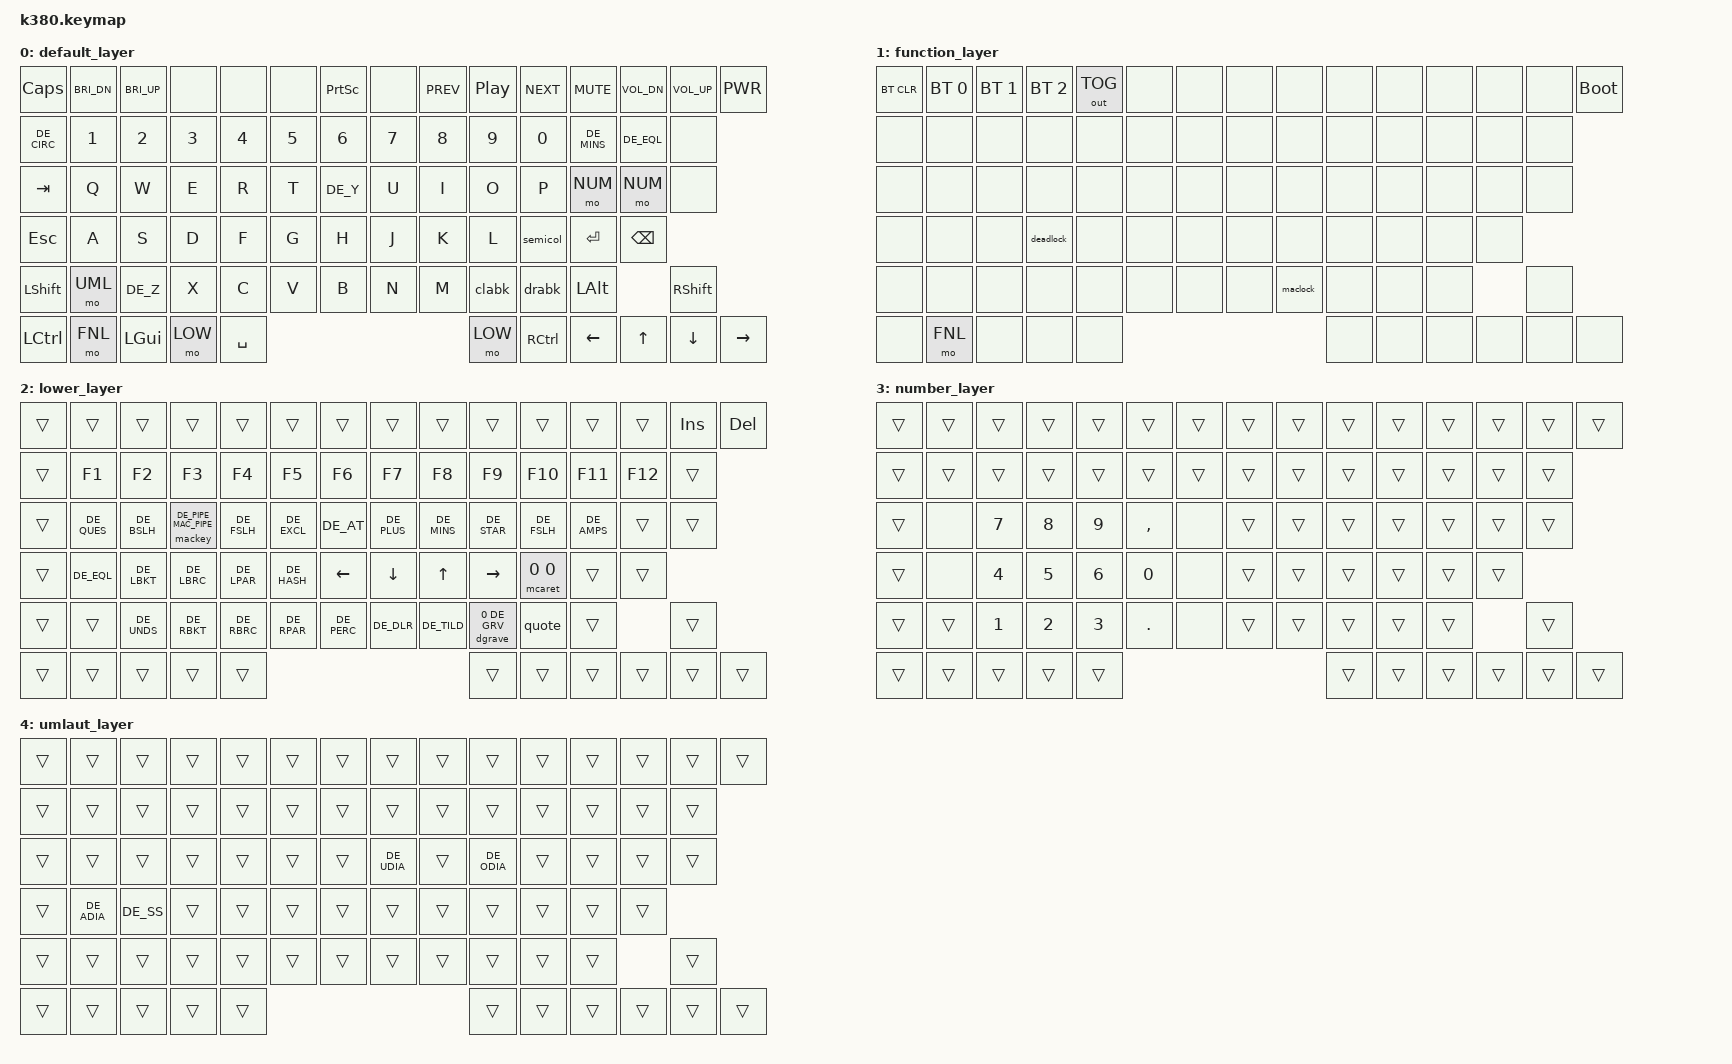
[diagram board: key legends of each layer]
#include "keymap_german.h"

#define DEFAULT 0
#define FNL     1
#define LOW     2
#define NUM     3
#define UML     4

/*
&trans    &trans    &trans    &trans    &trans    &trans    &trans    &trans    &trans    &trans    &trans    &trans    &trans    &trans    &trans
&trans    &trans    &trans    &trans    &trans    &trans    &trans    &trans    &trans    &trans    &trans    &trans    &trans    &trans
&trans    &trans    &trans    &trans    &trans    &trans    &trans    &trans    &trans    &trans    &trans    &trans    &trans    &trans
&trans    &trans    &trans    &trans    &trans    &trans    &trans    &trans    &trans    &trans    &trans    &trans    &trans
&trans    &trans    &trans    &trans    &trans    &trans    &trans    &trans    &trans    &trans    &trans    &trans              &trans
&trans    &trans    &trans    &trans                  &trans                              &trans    &trans    &trans    &trans    &trans    &trans
*/


/ {
  behaviors {
    quote: shift_quotes {
      compatible = "zmk,behavior-mod-morph";
      label = "SHIFT_QUOTES";
      #binding-cells = <0>;
      bindings = <&kp DE_SQT>, <&kp DE_DQT>;
      mods = <(MOD_LSFT|MOD_RSFT)>;
    };

    semicol: semi_colon {
      compatible = "zmk,behavior-mod-morph";
      label = "SEMI_COLON";
      #binding-cells = <0>;
      bindings = <&kp DE_SEMI>, <&kp DE_COLN>;
      mods = <(MOD_LSFT|MOD_RSFT)>;
    };
    
    clabk: comma_labk {
      compatible = "zmk,behavior-mod-morph";
      label = "COMMA_LEFT_ABK";
      #binding-cells = <0>;
      bindings = <&kp COMMA>, <&mackey DE_LABK MAC_LABK>;
      mods = <(MOD_LSFT|MOD_RSFT)>;
    };

    drabk: dot_rabk {
      compatible = "zmk,behavior-mod-morph";
      label = "DOT_RIGHT_ABK";
      #binding-cells = <0>;
      bindings = <&kp DOT>, <&mackey DE_RABK MAC_RABK>;
      mods = <(MOD_LSFT|MOD_RSFT)>;
    };

    maclock: mac_layout_lock {
      compatible = "zmk,behavior-custom-lock";
      label = "mac-layout-toggle";
      persistence = "per-profile";
      #binding-cells = <0>;

      mcaret: mac_caret {
        label = "mac-caret";
        #binding-cells = <2>;
        bindings = <&dcaret>, <&dmcaret>;
      };

      mackey: mac_key {
        label = "mac-key";
        #binding-cells = <2>;
        bindings = <&kp>, <&kp>;
      };
    };

    deadlock: dead_lock_prevent {
      compatible = "zmk,behavior-custom-lock";
      label = "dead-key-toggle";
      persistence = "per-profile";
      #binding-cells = <0>;

      dcaret: dead_key_caret {
        label = "dead-caret-key";
        #binding-cells = <2>;
        bindings = <&dead_caret>, <&caret>;
      };

      dmcaret: dead_mac_key_caret {
        label = "dead-mac-caret-key";
        #binding-cells = <2>;
        bindings = <&dead_mac_caret>, <&mac_caret>;
      };

      dgrave: dead_grave_key {
        label = "dead-grave-key";
        #binding-cells = <2>;
        bindings = <&dead_grave>, <&kp>;
      };
    };
  };

  macros {
    ZMK_MACRO(dead_caret, tap-ms = <1>; bindings = <&kp DE_CIRC &kp SPACE>;)
    ZMK_MACRO(caret, tap-ms = <1>; bindings = <&kp DE_CIRC>;)
    ZMK_MACRO(dead_mac_caret, tap-ms = <1>; bindings = <&kp MAC_CIRC &kp SPACE>;)
    ZMK_MACRO(mac_caret, tap-ms = <1>; bindings = <&kp MAC_CIRC>;)

    ZMK_MACRO(dead_grave, tap-ms = <1>; bindings = <&kp DE_GRV &kp SPACE>;)
  };
  
  keymap0: keymap {
    compatible = "zmk,keymap";

    default_layer {
      bindings = <
&kp CAPS    &kp C_BRI_DN &kp C_BRI_UP &none &none &none &kp PSCRN &none &kp C_PREV &kp C_PP &kp C_NEXT &kp C_MUTE &kp C_VOL_DN &kp C_VOL_UP &kp C_PWR
&kp DE_CIRC &kp N1   &kp N2   &kp N3    &kp N4  &kp N5  &kp N6   &kp N7  &kp N8  &kp N9    &kp N0     &kp DE_MINS &kp DE_EQL &none
&kp TAB     &kp Q    &kp W    &kp E     &kp R   &kp T   &kp DE_Y &kp U   &kp I   &kp  O    &kp P      &mo NUM     &mo NUM    &none
&kp ESC     &kp A    &kp S    &kp D     &kp F   &kp G   &kp H    &kp J   &kp K   &kp  L    &semicol   &kp RET     &kp BSPC
&kp LSHFT   &mo UML  &kp DE_Z &kp X     &kp C   &kp V   &kp B    &kp N   &kp M   &clabk    &drabk     &kp LALT           &kp RSHFT
&kp LCTRL   &mo FNL  &kp LGUI &mo LOW                &kp SPACE                   &mo LOW   &kp RCTRL  &kp LEFT    &kp UP &kp DOWN   &kp RIGHT
        >;
    };

    function_layer {
      bindings = <
&bt BT_CLR &bt BT_SEL 0 &bt BT_SEL 1 &bt BT_SEL 2 &out OUT_TOG  &none  &none  &none  &none     &none  &none  &none  &none  &none  &bootloader
&none      &none        &none        &none        &none         &none  &none  &none  &none     &none  &none  &none  &none  &none
&none      &none        &none        &none        &none         &none  &none  &none  &none     &none  &none  &none  &none  &none
&none      &none        &none        &deadlock    &none         &none  &none  &none  &none     &none  &none  &none  &none
&none      &none        &none        &none        &none         &none  &none  &none  &maclock  &none  &none  &none         &none
&none      &mo FNL      &none        &none              &none                                  &none  &none  &none  &none  &none  &none
        >;
    };

    lower_layer {
      bindings = <
&trans   &trans      &trans      &trans       &trans       &trans       &trans      &trans       &trans       &trans       &trans      &trans       &trans    &kp INS  &kp DEL
&trans   &kp F1      &kp F2      &kp F3       &kp F4       &kp F5       &kp F6      &kp F7       &kp F8       &kp F9       &kp F10     &kp F11      &kp F12   &trans
&trans   &kp DE_QUES &kp DE_BSLH &mackey DE_PIPE MAC_PIPE &kp DE_FSLH  &kp DE_EXCL  &kp DE_AT   &kp DE_PLUS  &kp DE_MINS  &kp DE_STAR  &kp DE_FSLH &kp DE_AMPS  &trans    &trans
&trans   &kp DE_EQL  &kp DE_LBKT &kp DE_LBRC  &kp DE_LPAR  &kp DE_HASH  &kp LEFT    &kp DOWN     &kp UP       &kp RIGHT    &mcaret 0 0  &trans       &trans
&trans   &trans      &kp DE_UNDS &kp DE_RBKT  &kp DE_RBRC  &kp DE_RPAR  &kp DE_PERC &kp DE_DLR   &kp DE_TILD  &dgrave 0 DE_GRV &quote      &trans                 &trans
&trans   &trans      &trans      &trans                   &trans                                 &trans       &trans       &trans      &trans       &trans    &trans
        >;
    };

    number_layer {
      bindings = <
&trans    &trans    &trans    &trans    &trans    &trans    &trans    &trans    &trans    &trans    &trans    &trans    &trans    &trans    &trans
&trans    &trans    &trans    &trans    &trans    &trans    &trans    &trans    &trans    &trans    &trans    &trans    &trans    &trans
&trans    &none     &kp N7    &kp N8    &kp N9    &kp COMMA &none     &trans    &trans    &trans    &trans    &trans    &trans    &trans
&trans    &none     &kp N4    &kp N5    &kp N6    &kp N0    &none     &trans    &trans    &trans    &trans    &trans    &trans
&trans    &trans    &kp N1    &kp N2    &kp N3    &kp DOT   &none     &trans    &trans    &trans    &trans    &trans              &trans
&trans    &trans    &trans    &trans                  &trans                              &trans    &trans    &trans    &trans    &trans    &trans
        >;
    };

    umlaut_layer {
      bindings = <
&trans    &trans      &trans    &trans    &trans    &trans    &trans    &trans      &trans    &trans      &trans    &trans    &trans    &trans    &trans
&trans    &trans      &trans    &trans    &trans    &trans    &trans    &trans      &trans    &trans      &trans    &trans    &trans    &trans
&trans    &trans      &trans    &trans    &trans    &trans    &trans    &kp DE_UDIA &trans    &kp DE_ODIA &trans    &trans    &trans    &trans
&trans    &kp DE_ADIA &kp DE_SS &trans    &trans    &trans    &trans    &trans      &trans    &trans      &trans    &trans    &trans
&trans    &trans      &trans    &trans    &trans    &trans    &trans    &trans      &trans    &trans      &trans    &trans              &trans
&trans    &trans      &trans    &trans                  &trans                                &trans      &trans    &trans    &trans    &trans    &trans
      >;
    };
  };
};
